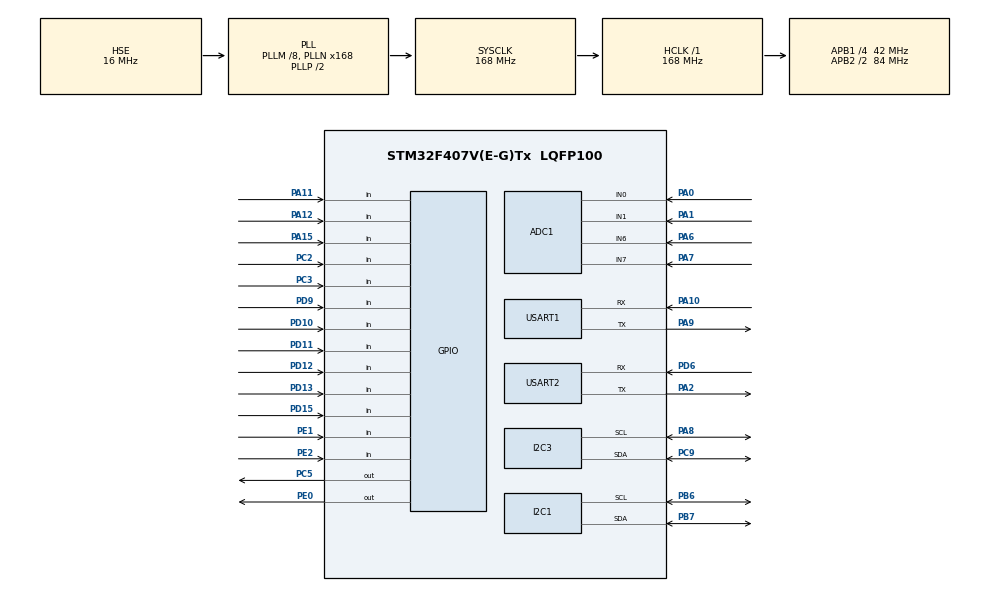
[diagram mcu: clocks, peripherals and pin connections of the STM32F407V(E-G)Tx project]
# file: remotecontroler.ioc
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ADC1.Channel-0\#ChannelRegularConversion=ADC_CHANNEL_6
ADC1.Channel-1\#ChannelRegularConversion=ADC_CHANNEL_7
ADC1.Channel-4\#ChannelRegularConversion=ADC_CHANNEL_0
ADC1.Channel-5\#ChannelRegularConversion=ADC_CHANNEL_1
ADC1.ContinuousConvMode=ENABLE
ADC1.DMAContinuousRequests=ENABLE
ADC1.DiscontinuousConvMode=DISABLE
ADC1.InjNumberOfConversion=0
ADC1.NbrOfConversion=4
ADC1.NbrOfConversionFlag=1
ADC1.Rank-0\#ChannelRegularConversion=1
ADC1.Rank-1\#ChannelRegularConversion=2
ADC1.Rank-4\#ChannelRegularConversion=3
ADC1.Rank-5\#ChannelRegularConversion=4
ADC1.SamplingTime-0\#ChannelRegularConversion=ADC_SAMPLETIME_84CYCLES
ADC1.SamplingTime-1\#ChannelRegularConversion=ADC_SAMPLETIME_84CYCLES
ADC1.SamplingTime-4\#ChannelRegularConversion=ADC_SAMPLETIME_84CYCLES
ADC1.SamplingTime-5\#ChannelRegularConversion=ADC_SAMPLETIME_84CYCLES
ADC1.ScanConvMode=ENABLE
ADC1.master=1
Dma.ADC1.0.Direction=DMA_PERIPH_TO_MEMORY
Dma.ADC1.0.FIFOMode=DMA_FIFOMODE_DISABLE
Dma.ADC1.0.Instance=DMA2_Stream0
Dma.ADC1.0.MemDataAlignment=DMA_MDATAALIGN_HALFWORD
Dma.ADC1.0.MemInc=DMA_MINC_ENABLE
Dma.ADC1.0.Mode=DMA_CIRCULAR
Dma.ADC1.0.PeriphDataAlignment=DMA_PDATAALIGN_HALFWORD
Dma.ADC1.0.PeriphInc=DMA_PINC_DISABLE
Dma.ADC1.0.Priority=DMA_PRIORITY_LOW
Dma.Request0=ADC1
Dma.Request1=USART2_RX
Dma.Request2=USART1_TX
Dma.USART1_TX.2.Direction=DMA_MEMORY_TO_PERIPH
Dma.USART1_TX.2.FIFOMode=DMA_FIFOMODE_DISABLE
Dma.USART1_TX.2.Instance=DMA2_Stream7
Dma.USART1_TX.2.MemDataAlignment=DMA_MDATAALIGN_BYTE
Dma.USART1_TX.2.MemInc=DMA_MINC_ENABLE
Dma.USART1_TX.2.Mode=DMA_NORMAL
Dma.USART1_TX.2.PeriphDataAlignment=DMA_PDATAALIGN_BYTE
Dma.USART1_TX.2.PeriphInc=DMA_PINC_DISABLE
Dma.USART1_TX.2.Priority=DMA_PRIORITY_HIGH
Dma.USART2_RX.1.Direction=DMA_PERIPH_TO_MEMORY
Dma.USART2_RX.1.FIFOMode=DMA_FIFOMODE_DISABLE
Dma.USART2_RX.1.Instance=DMA1_Stream5
Dma.USART2_RX.1.MemDataAlignment=DMA_MDATAALIGN_BYTE
Dma.USART2_RX.1.MemInc=DMA_MINC_ENABLE
Dma.USART2_RX.1.Mode=DMA_CIRCULAR
Dma.USART2_RX.1.PeriphDataAlignment=DMA_PDATAALIGN_BYTE
Dma.USART2_RX.1.PeriphInc=DMA_PINC_DISABLE
Dma.USART2_RX.1.Priority=DMA_PRIORITY_LOW
FREERTOS.Tasks01=menutask,24,128,menutask1,Default,NULL,Dynamic,NULL,NULL;joytask,25,128,joytask_,Default,NULL,Dynamic,NULL,NULL;UART2_RX,17,128,StartTask03,Default,NULL,Dynamic,NULL,NULL
FREERTOS.Timers01=myTimer01,Callback01,osTimerPeriodic,Default,NULL,Dynamic,NULL
Mcu.Family=STM32F4
Mcu.Name=STM32F407V(E-G)Tx
Mcu.Package=LQFP100
NVIC.DMA1_Stream5_IRQn=true\:5\:0\:false\:false\:true\:true\:false\:true\:true
NVIC.DMA2_Stream0_IRQn=true\:5\:0\:false\:false\:true\:true\:false\:true\:true
NVIC.DMA2_Stream7_IRQn=true\:5\:0\:false\:false\:true\:true\:false\:true\:true
NVIC.PriorityGroup=NVIC_PRIORITYGROUP_4
NVIC.TIM2_IRQn=true\:15\:0\:false\:false\:true\:false\:false\:true\:true
NVIC.TIM3_IRQn=true\:5\:0\:false\:false\:true\:true\:true\:true\:true
NVIC.TimeBase=TIM2_IRQn
NVIC.TimeBaseIP=TIM2
NVIC.USART1_IRQn=true\:5\:0\:false\:false\:true\:true\:true\:true\:true
NVIC.USART2_IRQn=true\:5\:0\:false\:false\:true\:true\:true\:true\:true
PA0-WKUP.Signal=ADCx_IN0
PA1.Signal=ADCx_IN1
PA10.Mode=Asynchronous
PA10.Signal=USART1_RX
PA11.GPIO_PuPd=GPIO_PULLUP
PA11.Signal=GPIO_Input
PA12.GPIO_PuPd=GPIO_PULLUP
PA12.Signal=GPIO_Input
PA13.Mode=Serial_Wire
PA13.Signal=SYS_JTMS-SWDIO
PA14.Mode=Serial_Wire
PA14.Signal=SYS_JTCK-SWCLK
PA15.GPIO_PuPd=GPIO_PULLUP
PA15.Signal=GPIO_Input
PA2.Mode=Asynchronous
PA2.Signal=USART2_TX
PA6.Signal=ADCx_IN6
PA7.Signal=ADCx_IN7
PA8.Mode=I2C
PA8.Signal=I2C3_SCL
PA9.Mode=Asynchronous
PA9.Signal=USART1_TX
PB6.Mode=I2C
PB6.Signal=I2C1_SCL
PB7.Mode=I2C
PB7.Signal=I2C1_SDA
PC2.Signal=GPIO_Input
PC3.Signal=GPIO_Input
PC5.Signal=GPIO_Output
PC9.Mode=I2C
PC9.Signal=I2C3_SDA
PD10.GPIO_PuPd=GPIO_PULLUP
PD10.Signal=GPIO_Input
PD11.GPIO_PuPd=GPIO_PULLUP
PD11.Signal=GPIO_Input
PD12.GPIO_PuPd=GPIO_PULLUP
PD12.Signal=GPIO_Input
PD13.GPIO_PuPd=GPIO_PULLUP
PD13.Signal=GPIO_Input
PD15.GPIO_PuPd=GPIO_PULLUP
PD15.Signal=GPIO_Input
PD6.Mode=Asynchronous
PD6.Signal=USART2_RX
PD9.GPIO_PuPd=GPIO_PULLUP
PD9.Signal=GPIO_Input
PE0.PinState=GPIO_PIN_SET
PE0.Signal=GPIO_Output
PE1.Signal=GPIO_Input
PE2.Signal=GPIO_Input
PH0-OSC_IN.Mode=HSE-External-Oscillator
PH0-OSC_IN.Signal=RCC_OSC_IN
PH1-OSC_OUT.Mode=HSE-External-Oscillator
PH1-OSC_OUT.Signal=RCC_OSC_OUT
ProjectManager.HeapSize=0x200
ProjectManager.StackSize=0x400
ProjectManager.TargetToolchain=MDK-ARM V5.32
RCC.48MHZClocksFreq_Value=84000000
RCC.AHBFreq_Value=168000000
RCC.APB1CLKDivider=RCC_HCLK_DIV4
RCC.APB1Freq_Value=42000000
RCC.APB1TimFreq_Value=84000000
RCC.APB2CLKDivider=RCC_HCLK_DIV2
RCC.APB2Freq_Value=84000000
RCC.APB2TimFreq_Value=168000000
RCC.CortexFreq_Value=168000000
RCC.HCLKFreq_Value=168000000
RCC.HSE_VALUE=16000000
RCC.HSI_VALUE=16000000
RCC.LSE_VALUE=32768
RCC.PLLM=8
RCC.PLLN=168
RCC.PLLSourceVirtual=RCC_PLLSOURCE_HSE
RCC.SYSCLKFreq_VALUE=168000000
RCC.SYSCLKSource=RCC_SYSCLKSOURCE_PLLCLK
RCC.VCOOutputFreq_Value=336000000
SH.ADCx_IN0.0=ADC1_IN0,IN0
SH.ADCx_IN1.0=ADC1_IN1,IN1
SH.ADCx_IN6.0=ADC1_IN6,IN6
SH.ADCx_IN7.0=ADC1_IN7,IN7
TIM3.Period=1000-1
TIM3.Prescaler=168-1
USART1.VirtualMode=VM_ASYNC
USART2.VirtualMode=VM_ASYNC
VP_FREERTOS_VS_CMSIS_V2.Mode=CMSIS_V2
VP_SYS_VS_tim2.Mode=TIM2
VP_TIM3_VS_ClockSourceINT.Mode=Internal
board=custom

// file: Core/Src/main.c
/* USER CODE BEGIN Header */
/**
  ******************************************************************************
  * @file           : main.c
  * @brief          : Main program body
  ******************************************************************************
  * @attention
  *
  * Copyright (c) 2025 STMicroelectronics.
  * All rights reserved.
  *
  * This software is licensed under terms that can be found in the LICENSE file
  * in the root directory of this software component.
  * If no LICENSE file comes with this software, it is provided AS-IS.
  *
  ******************************************************************************
  */
/* USER CODE END Header */
#include "main.h"
#include "cmsis_os.h"
#include "adc.h"
#include "dma.h"
#include "i2c.h"
#include "tim.h"
#include "usart.h"
#include "gpio.h"

/* USER CODE BEGIN Includes */
#include "oled.h"
#include "menu.h"
#include "key.h"
#include "remote.h"
#include "remote_rx.h"
#include "oled_left.h"
#include "menu_left.h"
/* USER CODE END Includes */

void SystemClock_Config(void);
void MX_FREERTOS_Init(void);

/* USER CODE BEGIN 0 */
extern uint16_t joy_raw[JOY_ADC_NUM];
/* USER CODE END 0 */

int main(void)
{

  /* MCU Configuration--------------------------------------------------------*/

  /* Reset of all peripherals, Initializes the Flash interface and the Systick. */
  HAL_Init();

  /* Configure the system clock */
  SystemClock_Config();

  /* Initialize all configured peripherals */
  MX_GPIO_Init();
  MX_DMA_Init();
  MX_I2C3_Init();
  MX_TIM3_Init();
  MX_ADC1_Init();
  MX_USART2_UART_Init();
  MX_USART1_UART_Init();
  MX_I2C1_Init();
  /* USER CODE BEGIN 2 */
	HAL_TIM_Base_Start_IT(&htim3);
	HAL_Delay(20);
	OLED_Init();
	OLED_DisPlay_On();
	OLED_Init_left();
	OLED_DisPlay_On_left();
	Menu_init();
	Menu_init_left();

	HAL_ADC_Start_DMA(&hadc1 ,(uint32_t *)joy_raw , JOY_ADC_NUM);
	joystick_calibrate();
  /* USER CODE END 2 */

  /* Init scheduler */
  osKernelInitialize();  /* Call init function for freertos objects (in cmsis_os2.c) */
  MX_FREERTOS_Init();

  /* Start scheduler */
  osKernelStart();

  /* We should never get here as control is now taken by the scheduler */

  /* Infinite loop */
  while (1)
  {

  }
}

void SystemClock_Config(void)
{
  RCC_OscInitTypeDef RCC_OscInitStruct = {0};
  RCC_ClkInitTypeDef RCC_ClkInitStruct = {0};

  /** Configure the main internal regulator output voltage
  */
  __HAL_RCC_PWR_CLK_ENABLE();
  __HAL_PWR_VOLTAGESCALING_CONFIG(PWR_REGULATOR_VOLTAGE_SCALE1);

  /** Initializes the RCC Oscillators according to the specified parameters
  * in the RCC_OscInitTypeDef structure.
  */
  RCC_OscInitStruct.OscillatorType = RCC_OSCILLATORTYPE_HSE;
  RCC_OscInitStruct.HSEState = RCC_HSE_ON;
  RCC_OscInitStruct.PLL.PLLState = RCC_PLL_ON;
  RCC_OscInitStruct.PLL.PLLSource = RCC_PLLSOURCE_HSE;
  RCC_OscInitStruct.PLL.PLLM = 8;
  RCC_OscInitStruct.PLL.PLLN = 168;
  RCC_OscInitStruct.PLL.PLLP = RCC_PLLP_DIV2;
  RCC_OscInitStruct.PLL.PLLQ = 4;
  if (HAL_RCC_OscConfig(&RCC_OscInitStruct) != HAL_OK)
  {
    Error_Handler();
  }

  /** Initializes the CPU, AHB and APB buses clocks
  */
  RCC_ClkInitStruct.ClockType = RCC_CLOCKTYPE_HCLK|RCC_CLOCKTYPE_SYSCLK
                              |RCC_CLOCKTYPE_PCLK1|RCC_CLOCKTYPE_PCLK2;
  RCC_ClkInitStruct.SYSCLKSource = RCC_SYSCLKSOURCE_PLLCLK;
  RCC_ClkInitStruct.AHBCLKDivider = RCC_SYSCLK_DIV1;
  RCC_ClkInitStruct.APB1CLKDivider = RCC_HCLK_DIV4;
  RCC_ClkInitStruct.APB2CLKDivider = RCC_HCLK_DIV2;

  if (HAL_RCC_ClockConfig(&RCC_ClkInitStruct, FLASH_LATENCY_5) != HAL_OK)
  {
    Error_Handler();
  }
}

void HAL_TIM_PeriodElapsedCallback(TIM_HandleTypeDef *htim)
{
  if (htim->Instance == TIM2)
  {
    HAL_IncTick();
  }
  /* USER CODE BEGIN Callback 1 */
if(htim->Instance == TIM3)
{
	Keys_Tick();

}
  /* USER CODE END Callback 1 */
}

void Error_Handler(void)
{
  __disable_irq();
  while (1)
  {
  }
}
